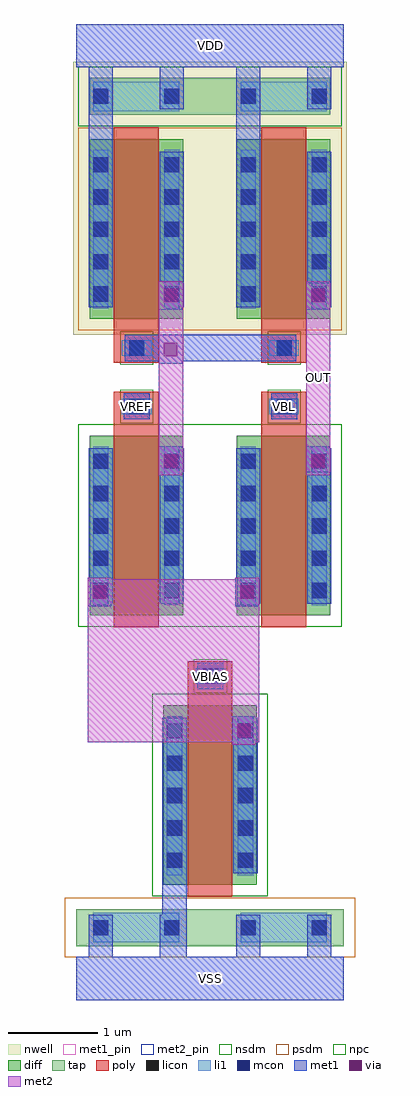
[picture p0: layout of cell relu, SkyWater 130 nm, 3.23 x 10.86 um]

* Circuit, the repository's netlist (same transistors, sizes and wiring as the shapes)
* ReLU 5T OTA Schematic Netlist (for LVS)
.subckt relu VBL VREF OUT VBIAS VDD VSS
XM3 node_A node_A VDD VDD sky130_fd_pr__pfet_01v8 L=0.5 W=2 nf=1 mult=1
XM4 OUT node_A VDD VDD sky130_fd_pr__pfet_01v8 L=0.5 W=2 nf=1 mult=1
XM1 node_A VREF TAIL VSS sky130_fd_pr__nfet_01v8 L=0.5 W=2 nf=1 mult=1
XM2 OUT VBL TAIL VSS sky130_fd_pr__nfet_01v8 L=0.5 W=2 nf=1 mult=1
XM5 TAIL VBIAS VSS VSS sky130_fd_pr__nfet_01v8 L=0.5 W=2 nf=1 mult=1
.ends relu

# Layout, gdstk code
import gdstk
lib = gdstk.Library(unit=1e-6, precision=1e-09)
def R(c, l, rs):  # rectangles x0, y0, x1, y1
    for r in rs: c.add(gdstk.rectangle(r[:2], r[2:], *l))
def A(c, l, x, y, w, h, nx, ny, dx, dy):  # array of equal rectangles
    R(c, l, [(x+i*dx, y+j*dy, x+i*dx+w, y+j*dy+h) for i in range(nx) for j in range(ny)])
nwell = (64, 20)
diff = (65, 20)
tap = (65, 44)
poly = (66, 20)
licon = (66, 44)
li1 = (67, 20)
mcon = (67, 44)
met1_pin = (68, 16)
met1 = (68, 20)
via = (68, 44)
met2_pin = (69, 16)
met2 = (69, 20)
nsdm = (93, 44)
psdm = (94, 20)
npc = (95, 20)

relu = lib.new_cell('relu')
R(relu, nwell, [(-0.03,7.4,3.01,10.44)])
R(relu, diff, [(0.97,1.28,2.01,3.28), (0.15,4.28,1.19,6.28), (1.79,4.28,2.83,6.28), (0.15,7.58,1.19,9.58), (1.79,7.58,2.83,9.58)])
R(relu, tap, [(0,0.6,2.98,1.01), (0.15,9.85,2.83,10.26)])
R(relu, poly, [(1.24,1.15,1.74,3.77), (0.42,4.15,0.92,6.77), (2.06,4.15,2.56,6.77), (0.42,7.09,0.92,9.71), (2.06,7.09,2.56,9.71)])
A(relu, licon, 1.01, 1.47, 0.17, 0.17, 1, 5, 0, 0.36)
A(relu, licon, 1.8, 1.47, 0.17, 0.17, 1, 5, 0, 0.36)
A(relu, licon, 0.19, 4.47, 0.17, 0.17, 1, 5, 0, 0.36)
A(relu, licon, 0.98, 4.47, 0.17, 0.17, 1, 5, 0, 0.36)
A(relu, licon, 1.83, 4.47, 0.17, 0.17, 1, 5, 0, 0.36)
A(relu, licon, 2.62, 4.47, 0.17, 0.17, 1, 5, 0, 0.36)
A(relu, licon, 0.19, 7.77, 0.17, 0.17, 1, 5, 0, 0.36)
A(relu, licon, 0.98, 7.77, 0.17, 0.17, 1, 5, 0, 0.36)
A(relu, licon, 1.83, 7.77, 0.17, 0.17, 1, 5, 0, 0.36)
A(relu, licon, 2.62, 7.77, 0.17, 0.17, 1, 5, 0, 0.36)
R(relu, licon, [(0.19,0.72,0.36,0.89), (0.98,0.72,1.15,0.89), (1.83,0.72,2,0.89), (2.62,0.72,2.79,0.89), (1.41,3.52,1.58,3.69), (0.59,6.52,0.76,6.69), (2.23,6.52,2.4,6.69), (0.59,7.17,0.76,7.34), (2.23,7.17,2.4,7.34), (0.19,9.97,0.36,10.14), (0.98,9.97,1.15,10.14), (1.83,9.97,2,10.14), (2.62,9.97,2.79,10.14)])
R(relu, li1, [(0.19,0.64,1.15,0.97), (1.83,0.64,2.79,0.97), (1.01,1.39,1.18,3.16), (1.8,1.39,1.97,3.16), (1.33,3.52,1.66,3.69), (0.19,4.39,0.36,6.16), (0.98,4.39,1.15,6.16), (1.83,4.39,2,6.16), (2.62,4.39,2.79,6.16), (0.51,6.52,0.84,6.69), (2.15,6.52,2.48,6.69), (0.51,7.17,0.84,7.34), (2.15,7.17,2.48,7.34), (0.19,7.69,0.36,9.46), (0.98,7.69,1.15,9.46), (1.83,7.69,2,9.46), (2.62,7.69,2.79,9.46), (0.19,9.89,1.15,10.22), (1.83,9.89,2.79,10.22)])
A(relu, mcon, 1.01, 1.47, 0.17, 0.17, 1, 5, 0, 0.36)
A(relu, mcon, 1.8, 1.47, 0.17, 0.17, 1, 5, 0, 0.36)
A(relu, mcon, 0.19, 4.47, 0.17, 0.17, 1, 5, 0, 0.36)
A(relu, mcon, 0.98, 4.47, 0.17, 0.17, 1, 5, 0, 0.36)
A(relu, mcon, 1.83, 4.47, 0.17, 0.17, 1, 5, 0, 0.36)
A(relu, mcon, 2.62, 4.47, 0.17, 0.17, 1, 5, 0, 0.36)
A(relu, mcon, 0.19, 7.77, 0.17, 0.17, 1, 5, 0, 0.36)
A(relu, mcon, 0.98, 7.77, 0.17, 0.17, 1, 5, 0, 0.36)
A(relu, mcon, 1.83, 7.77, 0.17, 0.17, 1, 5, 0, 0.36)
A(relu, mcon, 2.62, 7.77, 0.17, 0.17, 1, 5, 0, 0.36)
R(relu, mcon, [(0.19,0.72,0.36,0.89), (0.98,0.72,1.15,0.89), (1.83,0.72,2,0.89), (2.62,0.72,2.79,0.89), (1.41,3.52,1.58,3.69), (0.59,6.52,0.76,6.69), (2.23,6.52,2.4,6.69), (0.59,7.17,0.76,7.34), (2.23,7.17,2.4,7.34), (0.19,9.97,0.36,10.14), (0.98,9.97,1.15,10.14), (1.83,9.97,2,10.14), (2.62,9.97,2.79,10.14)])
R(relu, met1_pin, [(0,0,2.98,0.48), (1.35,3.46,1.64,3.75), (0.53,6.46,0.82,6.75), (2.17,6.46,2.46,6.75), (0,10.38,2.98,10.86)])
R(relu, met1, [(0,0,2.98,0.48), (0.14,0.48,0.41,0.95), (0.93,0.48,1.23,0.95), (1.78,0.48,2.05,0.95), (2.57,0.48,2.84,0.95), (0.96,0.95,1.23,3.14), (1.75,1.41,2.02,2.84), (1.74,2.84,2.02,3.14), (1.74,3.14,2,3.16), (1.35,3.46,1.64,3.75), (0.13,4.38,0.39,4.41), (1.77,4.38,2.03,4.41), (0.13,4.41,0.41,4.7), (0.93,4.41,1.2,5.84), (1.77,4.41,2.05,4.7), (2.57,4.41,2.84,5.84), (0.14,4.7,0.41,6.14), (1.78,4.7,2.05,6.14), (0.92,5.84,1.2,6.14), (2.56,5.84,2.84,6.14), (0.92,6.14,1.18,6.16), (2.56,6.14,2.82,6.16), (0.53,6.46,0.82,6.75), (2.17,6.46,2.46,6.75), (0.92,7.08,1.18,7.11), (0.54,7.11,2.45,7.4), (0.92,7.68,1.18,7.71), (2.56,7.68,2.82,7.71), (0.14,7.71,0.41,10.38), (0.92,7.71,1.2,8), (1.78,7.71,2.05,10.38), (2.56,7.71,2.84,8), (0.93,8,1.2,9.44), (2.57,8,2.84,9.44), (0.93,9.91,1.2,10.38), (2.57,9.91,2.84,10.38), (0,10.38,2.98,10.86)])
R(relu, via, [(1.795,2.925,1.945,3.075), (0.185,4.465,0.335,4.615), (1.825,4.465,1.975,4.615), (0.975,5.925,1.125,6.075), (2.615,5.925,2.765,6.075), (0.975,7.165,1.125,7.315), (0.975,7.765,1.125,7.915), (2.615,7.765,2.765,7.915)])
R(relu, met2_pin, [(2.56,5.87,2.83,7.98)])
R(relu, met2, [(1.74,2.84,2,2.87), (0.13,2.87,2.04,4.68), (0.13,4.68,0.39,4.7), (1.77,4.68,2.03,4.7), (0.92,5.84,1.18,5.87), (2.56,5.84,2.82,5.87), (0.92,5.87,1.19,7.98), (2.56,5.87,2.83,7.98), (0.92,7.98,1.18,8), (2.56,7.98,2.82,8)])
R(relu, nsdm, [(0.845,1.155,2.135,3.405), (0.025,4.155,2.955,6.405), (0.025,9.725,2.955,10.385)])
R(relu, psdm, [(-0.125,0.475,3.105,1.135), (0.025,7.455,2.955,9.705)])
R(relu, npc, [(1.31,3.42,1.68,3.79), (0.49,6.42,0.86,6.79), (2.13,6.42,2.5,6.79), (0.49,7.07,0.86,7.44), (2.13,7.07,2.5,7.44)])
relu.add(gdstk.Label('VBL', (2.315,6.605), layer=68, texttype=5))
relu.add(gdstk.Label('VREF', (0.675,6.605), layer=68, texttype=5))
relu.add(gdstk.Label('OUT', (2.695,6.925), layer=69, texttype=5))
relu.add(gdstk.Label('VBIAS', (1.495,3.605), layer=68, texttype=5))
relu.add(gdstk.Label('VDD', (1.49,10.62), layer=68, texttype=5))
relu.add(gdstk.Label('VSS', (1.49,0.24), layer=68, texttype=5))

lib.write_gds('relu.gds')
